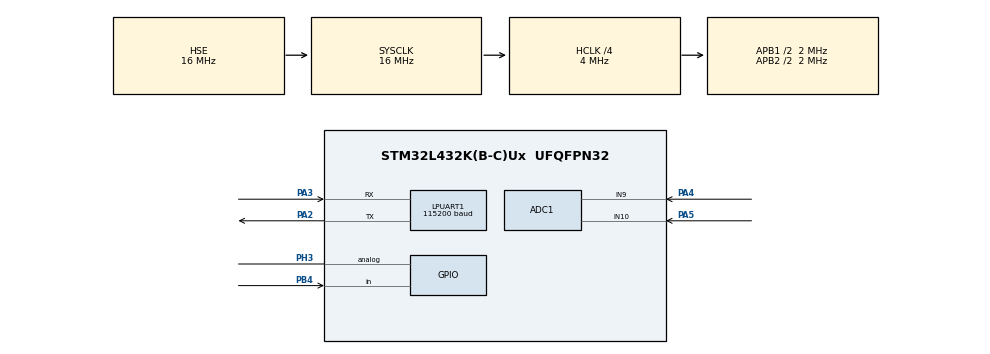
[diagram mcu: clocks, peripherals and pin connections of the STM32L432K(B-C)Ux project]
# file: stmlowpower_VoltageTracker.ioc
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ADC1.Channel-1\#ChannelRegularConversion=ADC_CHANNEL_9
ADC1.NbrOfConversion=1
ADC1.NbrOfConversionFlag=1
ADC1.OffsetNumber-1\#ChannelRegularConversion=ADC_OFFSET_NONE
ADC1.Rank-1\#ChannelRegularConversion=1
ADC1.SamplingTime-1\#ChannelRegularConversion=ADC_SAMPLETIME_2CYCLES_5
ADC1.SingleDiff-1\#ChannelRegularConversion=ADC_DIFFERENTIAL_ENDED
ADC1.master=1
LPUART1.BaudRate=115200
LPUART1.WordLength=UART_WORDLENGTH_8B
Mcu.Family=STM32L4
Mcu.Name=STM32L432K(B-C)Ux
Mcu.Package=UFQFPN32
NVIC.PriorityGroup=NVIC_PRIORITYGROUP_4
NVIC.RCC_IRQn=true\:0\:0\:false\:false\:true\:true\:false\:true
NVIC.RTC_WKUP_IRQn=true\:0\:0\:false\:false\:true\:true\:true\:true
PA0.Mode=HSE-External-Clock-Source-for-LittleOrca
PA0.Signal=RCC_CK_IN
PA2.Mode=Asynchronous
PA2.Signal=LPUART1_TX
PA3.Mode=Asynchronous
PA3.Signal=LPUART1_RX
PA4.Signal=ADCx_IN9
PA5.Signal=ADCx_IN10
PB4\ (NJTRST).GPIO_PuPd=GPIO_PULLDOWN
PB4\ (NJTRST).Signal=GPIO_Input
PC14-OSC32_IN\ (PC14).Mode=LSE-External-Oscillator
PC14-OSC32_IN\ (PC14).Signal=RCC_OSC32_IN
PC15-OSC32_OUT\ (PC15).Mode=LSE-External-Oscillator
PC15-OSC32_OUT\ (PC15).Signal=RCC_OSC32_OUT
PH3-BOOT0.Signal=GPIO_Analog
ProjectManager.HeapSize=0x200
ProjectManager.StackSize=0x400
ProjectManager.TargetToolchain=STM32CubeIDE
RCC.ADCCLockSelection=RCC_ADCCLKSOURCE_SYSCLK
RCC.ADCFreq_Value=16000000
RCC.AHBCLKDivider=RCC_SYSCLK_DIV4
RCC.AHBFreq_Value=4000000
RCC.APB1CLKDivider=RCC_HCLK_DIV2
RCC.APB1Freq_Value=2000000
RCC.APB1TimFreq_Value=4000000
RCC.APB2CLKDivider=RCC_HCLK_DIV2
RCC.APB2Freq_Value=2000000
RCC.APB2TimFreq_Value=4000000
RCC.CortexFreq_Value=500000
RCC.Cortex_Div=SYSTICK_CLKSOURCE_HCLK_DIV8
RCC.HCLKFreq_Value=4000000
RCC.HSE_VALUE=16000000
RCC.HSI48_VALUE=48000000
RCC.HSI_VALUE=16000000
RCC.I2C1CLockSelection=RCC_I2C1CLKSOURCE_SYSCLK
RCC.LPUART1CLockSelection=RCC_LPUART1CLKSOURCE_SYSCLK
RCC.MSIClockRange=RCC_MSIRANGE_4
RCC.MSI_VALUE=1000000
RCC.PLLM=4
RCC.PLLR=RCC_PLLR_DIV8
RCC.PLLSAI1N=20
RCC.PLLSourceVirtual=RCC_PLLSOURCE_HSE
RCC.RTCClockSelection=RCC_RTCCLKSOURCE_LSE
RCC.SYSCLKFreq_VALUE=16000000
RCC.SYSCLKSource=RCC_SYSCLKSOURCE_HSE
RCC.USBFreq_Value=40000000
RCC.VCOOutputFreq_Value=32000000
RTC.StoreOperation=RTC_STOREOPERATION_SET
SH.ADCx_IN10.0=ADC1_IN10,IN9-Differential
SH.ADCx_IN9.0=ADC1_IN9,IN9-Differential
VP_ADC1_Vref_Input.Mode=IN-Vrefint
VP_RTC_VS_RTC_Activate.Mode=RTC_Enabled
VP_RTC_VS_RTC_Calendar.Mode=RTC_Calendar
VP_RTC_VS_RTC_WakeUp_intern.Mode=WakeUp
board=custom

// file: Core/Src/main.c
/* USER CODE BEGIN Header */
/**
  ******************************************************************************
  * @file           : main.c
  * @brief          : Main program body
  ******************************************************************************
  * @attention
  *
  * Copyright (c) 2023 STMicroelectronics.
  * All rights reserved.
  *
  * This software is licensed under terms that can be found in the LICENSE file
  * in the root directory of this software component.
  * If no LICENSE file comes with this software, it is provided AS-IS.
  *
  ******************************************************************************
  */
/* USER CODE END Header */
#include "main.h"

/* USER CODE BEGIN Includes */
#include "string.h"
#include <stdio.h>
#include <inttypes.h>
#include <stdarg.h> //for va_list var arg functions
/* USER CODE END Includes */

/* USER CODE BEGIN PD */
#define FLASH_USER_START_ADDR   ADDR_FLASH_PAGE_16   /* Start @ of user Flash area */
#define FLASH_USER_END_ADDR     ADDR_FLASH_PAGE_127 + FLASH_PAGE_SIZE - 1   /* End @ of user Flash area */
#define FLASH_USER_ADDR_ADDR    ADDR_FLASH_PAGE_127
#define DATA_64                 ((uint64_t)0x1234567812345678)
#define DATA_32                 ((uint32_t)0x12345678)
/* USER CODE END PD */

ADC_HandleTypeDef hadc1;

UART_HandleTypeDef hlpuart1;

RTC_HandleTypeDef hrtc;

/* USER CODE BEGIN PV */
uint8_t storeCounter=0, colInt = 60; //store intermediate values in backup reg for more efficiency
uint16_t ADC_Result; // Full temperature data
float Vin;
uint64_t writeVal, bkWrite; // Value to write to flash storage
RTC_TimeTypeDef gTime; // to be used if we want to improve time tracking
uint32_t dataSamplesStored = 0; // number of temperature data samples taken
//FLASH MEMORY STUFF
uint32_t FirstPage = 0, NbOfPages = 0, BankNumber = 0;
uint32_t Address = 0, mgmtAddr = FLASH_USER_ADDR_ADDR+8, PAGEError = 0;
uint32_t Rx_Data[2];
__IO uint32_t data32 = 0, MemoryProgramStatus = 0;
static FLASH_EraseInitTypeDef EraseInitStruct;
//DATA TRANSFER STUFF
uint8_t UART_Rx_Data[1] = "w";
/* USER CODE END PV */

void SystemClock_Config(void);
static void MX_GPIO_Init(void);
static void MX_RTC_Init(void);
static void MX_LPUART1_UART_Init(void);
static void MX_ADC1_Init(void);
/* USER CODE BEGIN PFP */
void UART_TRANSMIT(char *str);
/* USER CODE END PFP */

/* USER CODE BEGIN 0 */
void HAL_GPIO_EXTI_Callback(uint16_t GPIO_Pin)
{
  if(GPIO_Pin == GPIO_PIN_9)
  {
	  SystemClock_Config ();
	  HAL_ResumeTick();
	  char *str = "WAKEUP FROM EXTII\n\n";
	  HAL_UART_Transmit(&hlpuart1, (uint8_t *) str, strlen (str), 100);
	  HAL_PWR_DisableSleepOnExit();
  }
}
void HAL_RTCEx_WakeUpTimerEventCallback(RTC_HandleTypeDef *hrtc){
	SystemClock_Config ();
	HAL_ResumeTick();
	char *str = "WAKEUP FROM RTC\n\n\r";
	HAL_UART_Transmit(&hlpuart1, (uint8_t *) str, strlen (str), 100);
	HAL_PWR_DisableSleepOnExit();
}
void myprintf(const char *fmt, ...) {
  static char buffer[256];
  va_list args;
  va_start(args, fmt);
  vsnprintf(buffer, sizeof(buffer), fmt, args);
  va_end(args);

  int len = strlen(buffer);
  HAL_UART_Transmit(&hlpuart1, (uint8_t*)buffer, len, 100);
}
static uint32_t GetPage(uint32_t Addr)
{
  uint32_t page = 0;

  if (Addr < (FLASH_BASE + FLASH_BANK_SIZE))
  {
    /* Bank 1 */
    page = (Addr - FLASH_BASE) / FLASH_PAGE_SIZE;
  }
  else
  {
    /* Bank 2 */
    page = (Addr - (FLASH_BASE + FLASH_BANK_SIZE)) / FLASH_PAGE_SIZE;
  }

  return page;
}

static uint32_t GetBank(uint32_t Addr)
{
  return FLASH_BANK_1;
}

void Flash_Read_Data (uint32_t StartPageAddress, uint32_t *RxBuf, uint16_t numberofwords)
{
	while (1)
	{

		*RxBuf = *(__IO uint32_t *)StartPageAddress;
		StartPageAddress += 4;
		RxBuf++;
		if (!(numberofwords--)) break;
	}
}

void Transfer_All_Data()
{
	uint32_t readSamplesStored = 0;
	uint32_t currentAddress = FLASH_USER_START_ADDR;
	uint32_t dataTimeInterval;
	uint32_t dataTimePassed = 0;
	uint32_t dataVoltageHex;
	Flash_Read_Data(mgmtAddr-8, Rx_Data, 1);
	readSamplesStored = Rx_Data[1];
	readSamplesStored = (readSamplesStored == 0xffffffff) ? 0 : readSamplesStored;
	readSamplesStored = 3206;
	myprintf("#Transmitting all Voltage Data (%u Samples):\n\r", readSamplesStored * 4);
	if ((readSamplesStored == 0) || readSamplesStored == 0xffffffff)
		myprintf("No stored data samples to transfer!\n\r");
	else
	{
		for (uint32_t i = 1; i <= readSamplesStored * 4; i++)
		{
			dataTimeInterval = 1;
			dataVoltageHex = *(__IO uint32_t *)(currentAddress) & 0xffff;
			currentAddress += 2;
			// Above code reads from 2 concurrent 32-bit words. So once end of byte reached, skip 1 word.
			dataTimePassed += dataTimeInterval;
			myprintf("Time:, %d s, V:, %04"PRIx16" V\n\r", dataTimePassed, dataVoltageHex);
		}
	}
	myprintf("Data Transfer Completed.\n\r");
}
/* USER CODE END 0 */

int main(void)
{

  /* MCU Configuration--------------------------------------------------------*/

  /* Reset of all peripherals, Initializes the Flash interface and the Systick. */
  HAL_Init();

  /* Configure the system clock */
  SystemClock_Config();

  /* Initialize all configured peripherals */
  MX_GPIO_Init();
  MX_RTC_Init();
  MX_LPUART1_UART_Init();
  MX_ADC1_Init();
  /* USER CODE BEGIN 2 */
  // Optional Flasher

  HAL_Delay(1000);
  for (int i=0; i<11; i++)
  {
	  HAL_GPIO_TogglePin(GPIOB, GPIO_PIN_3);
	  HAL_Delay(200);
  }
  HAL_GPIO_TogglePin(GPIOB, GPIO_PIN_3);

  myprintf("BEGIN MAIN\n\n\r");
   /* enable the RTC Wakeup */
     /*  RTC Wake-up Interrupt Generation:
       Wake-up Time Base = (RTC_WAKEUPCLOCK_RTCCLK_DIV /(LSI))
       ==> WakeUpCounter = Wake-up Time / Wake-up Time Base

       To configure the wake up timer to 5s the WakeUpCounter is set to 0x2710:
       RTC_WAKEUPCLOCK_RTCCLK_DIV = RTCCLK_Div16 = 16
       Wake-up Time Base = 16 /(32KHz) = 0.0005 seconds
       ==> WakeUpCounter = ~5s/0.0005s = 10000 = 0x2710
     */
  if (HAL_RTCEx_SetWakeUpTimer_IT(&hrtc, colInt * 2000, RTC_WAKEUPCLOCK_RTCCLK_DIV16) != HAL_OK)
  {
	  Error_Handler();
  }
  //Scan Flash for free page, assume if start of page is empty, the page is empty
  // 2048 should be page size in bytes, 1 address = 1 byte
  HAL_ADCEx_Calibration_Start(&hadc1, ADC_DIFFERENTIAL_ENDED);

  if (Address == 0x00000000){
	  Address = FLASH_USER_START_ADDR;
	  while (mgmtAddr < FLASH_USER_END_ADDR && Rx_Data[0] != 0xFFFFFFFF){
		  Flash_Read_Data (mgmtAddr, Rx_Data, 1);
		  myprintf("read: %08" PRIx32 " at: %08" PRIx32 "\n",Rx_Data[0], mgmtAddr);
		  mgmtAddr += 8;
	  }
	  if ((Rx_Data[0] == 0xFFFFFFFF)){
		  mgmtAddr-=8;
		  Flash_Read_Data(mgmtAddr-8, Rx_Data, 1);
		  Address = Rx_Data[0];
	  }
	  if (Address >= FLASH_USER_ADDR_ADDR){
		//Now Erase the Flash memory we will use//
		/* Unlock the Flash to enable the flash control register access *************/
		HAL_FLASH_Unlock();
		/* Erase the user Flash area
				(area defined by FLASH_USER_START_ADDR and FLASH_USER_END_ADDR) ***********/
		  /* Clear OPTVERR bit set on virgin samples */
		__HAL_FLASH_CLEAR_FLAG(FLASH_FLAG_OPTVERR);
		/* Get the 1st page to erase */
		FirstPage = GetPage(FLASH_USER_START_ADDR);
		/* Get the number of pages to erase from 1st page */
		NbOfPages = GetPage(FLASH_USER_START_ADDR+FLASH_PAGE_SIZE) - FirstPage + 1;
		/* Get the bank */
		BankNumber = GetBank(FLASH_USER_START_ADDR);
		/* Fill EraseInit structure*/
		EraseInitStruct.TypeErase   = FLASH_TYPEERASE_PAGES;
		EraseInitStruct.Banks       = BankNumber;
		EraseInitStruct.Page        = FirstPage;
		EraseInitStruct.NbPages     = NbOfPages;
		myprintf("Starting Program\n\r");
		/* Note: If an erase operation in Flash memory also concerns data in the data or instruction cache,
				 you have to make sure that these data are rewritten before they are accessed during code
				 execution. If this cannot be done safely, it is recommended to flush the caches by setting the
				 DCRST and ICRST bits in the FLASH_CR register. */
		if (HAL_FLASHEx_Erase(&EraseInitStruct, &PAGEError) != HAL_OK)
		{
		  /*
		  Error occurred while page erase.
		  User can add here some code to deal with this error.
		  PAGEError will contain the faulty page and then to know the code error on this page,
		  user can call function 'HAL_FLASH_GetError()'
		  */
		  while (1)
		  {
				  /* Make LED3 blink (100ms on, 2s off) to indicate error in Erase operation */
			  HAL_GPIO_TogglePin(GPIOB, GPIO_PIN_3);
			  HAL_Delay(100);
			  HAL_GPIO_TogglePin(GPIOB, GPIO_PIN_3);
			  HAL_Delay(2000);
			  myprintf("ERROR while erasing\n");
		  }
		}
		Address = FLASH_USER_START_ADDR;
	 }
  }
  myprintf("Current Address: %08" PRIx32 "\n",Address);
  HAL_RTCEx_BKUPWrite(&hrtc, RTC_BKP_DR1, Address);
  //HAL_RTCEx_BKUPWrite(&hrtc, RTC_BKP_DR0, '*'); //Write to RTC backup register
  HAL_FLASH_Lock();
  /* USER CODE END 2 */

  /* Infinite loop */
  while (1)
  {

    /* USER CODE BEGIN 3 */
	if (storeCounter >= 3){
		storeCounter=0;
	}else{storeCounter++;}
	HAL_GPIO_TogglePin(GPIOB, GPIO_PIN_3); // Toggle LED on
	static uint32_t secondsPassed = 0; // keep track of time, assume RTC value is exact
	/* Get the RTC current Time */
	HAL_RTC_GetTime(&hrtc, &gTime, RTC_FORMAT_BIN);
	// Get current Address to write to //
	Address = HAL_RTCEx_BKUPRead(&hrtc, RTC_BKP_DR1);
	secondsPassed += colInt;
	// Send time over serial for debugging
	myprintf("Time Passed: %u Seconds\n\r", (unsigned int)secondsPassed);
	HAL_ADC_Start(&hadc1); // start the adc
	HAL_ADC_PollForConversion(&hadc1, 100); // poll for conversion

	ADC_Result = HAL_ADC_GetValue(&hadc1); // get the adc value

	HAL_ADC_Stop(&hadc1); // stop adc
	// Storing Results in BKP Registers //
	Vin = ((ADC_Result - 2048)*3.3)/2048.0;
	bkWrite = ((uint64_t)(ADC_Result - 2048) << storeCounter*16);
	writeVal = (writeVal | bkWrite);
	if (storeCounter!=3){
		myprintf("Raw RESULT: %04" PRIx16 "\n\r",ADC_Result-2048);
	}else{
		myprintf("Raw RESULT: %04"PRIx16"\n\r",ADC_Result-2048);
		myprintf("Current Address: %08" PRIx32 "\n\r",Address);
		HAL_FLASH_Unlock();
		if (Address < FLASH_USER_ADDR_ADDR)
		{
			if (Address % FLASH_PAGE_SIZE == 0){ /*is the current address the start of a page?*/
				myprintf("Starting new page... Erasing...\n\r");
				__HAL_FLASH_CLEAR_FLAG(FLASH_FLAG_OPTVERR);
				/* Erase the Next Page */
				FirstPage = GetPage(Address);
				NbOfPages = 1;
				/* Get the bank */
				BankNumber = GetBank(FLASH_USER_START_ADDR);
				/* Fill EraseInit structure*/
				EraseInitStruct.TypeErase   = FLASH_TYPEERASE_PAGES;
				EraseInitStruct.Banks       = BankNumber;
				EraseInitStruct.Page        = FirstPage;
				EraseInitStruct.NbPages     = NbOfPages;
				HAL_FLASHEx_Erase(&EraseInitStruct, &PAGEError);
			}
			if (HAL_FLASH_Program(FLASH_TYPEPROGRAM_DOUBLEWORD, Address, writeVal) == HAL_OK)
			{
				writeVal=0;
				Address = Address + 8;
				dataSamplesStored++;
			}else{
				myprintf("ERROR WRITING DATA\n\r");
				Address = Address + 8;
			} //Store current Address in memory in case power is lost!
			if (mgmtAddr >= FLASH_USER_END_ADDR){
				// Erase mem mgmt page and start again!
				myprintf("Erasing memory management page...");
				__HAL_FLASH_CLEAR_FLAG(FLASH_FLAG_OPTVERR);
				/* Erase the Next Page */
				FirstPage = GetPage(FLASH_USER_ADDR_ADDR);
				NbOfPages = 1;
						/* Get the bank */
				BankNumber = GetBank(FLASH_USER_ADDR_ADDR);
				EraseInitStruct.TypeErase   = FLASH_TYPEERASE_PAGES;
				EraseInitStruct.Banks       = BankNumber;
				EraseInitStruct.Page        = FirstPage;
				EraseInitStruct.NbPages     = NbOfPages;
				HAL_FLASHEx_Erase(&EraseInitStruct, &PAGEError);
				mgmtAddr = FLASH_USER_ADDR_ADDR;
			}
			//if (HAL_FLASH_Program(FLASH_TYPEPROGRAM_DOUBLEWORD, mgmtAddr, (((uint64_t)Address <<32) | (uint32_t)dataSamplesStored) == HAL_OK))
			if (HAL_FLASH_Program(FLASH_TYPEPROGRAM_DOUBLEWORD, mgmtAddr, (uint64_t)dataSamplesStored<<32|Address) == HAL_OK)
			{
				myprintf("stored: %08" PRIx32 " at: %08" PRIx32 "\n",Address, mgmtAddr);
				mgmtAddr = mgmtAddr + 8;
			}else{
				myprintf("ERROR STORING ADDRESS\n");
				mgmtAddr = mgmtAddr + 8;
			}
		}else{
			myprintf("Reached end of user address... \n starting from the top!");
			Address = FLASH_USER_START_ADDR;
			__HAL_FLASH_CLEAR_FLAG(FLASH_FLAG_OPTVERR);
			/* Get the 1st page to erase */
			FirstPage = GetPage(Address);
			NbOfPages = 1;
			/* Get the bank */
			BankNumber = GetBank(FLASH_USER_START_ADDR);
			/* Fill EraseInit structure*/
			EraseInitStruct.TypeErase   = FLASH_TYPEERASE_PAGES;
			EraseInitStruct.Banks       = BankNumber;
			EraseInitStruct.Page        = FirstPage;
			EraseInitStruct.NbPages     = NbOfPages;
			HAL_FLASHEx_Erase(&EraseInitStruct, &PAGEError);
		}
		HAL_FLASH_Lock();
	}
	//Write current Address up backup register
	HAL_RTCEx_BKUPWrite(&hrtc, RTC_BKP_DR1, Address);

	// Check if USB connected (CN2 PIN 2 -> D12)
	if (HAL_GPIO_ReadPin(GPIOB, GPIO_PIN_4))
	{
		// If USB connected transfer data
		myprintf("USB Detected\n\r");
		Transfer_All_Data();
	}
	/* Suspend tick before entering stop mode */
	HAL_SuspendTick();
	/* Sleep on Exit? */
	//HAL_PWR_EnableSleepOnExit();
	HAL_PWR_DisableSleepOnExit();
	HAL_GPIO_TogglePin(GPIOB, GPIO_PIN_3);
	// Disable peripherals before entering stop mode
	HAL_UART_DeInit(&hlpuart1);
		/* Enter STOP mode */
	HAL_PWR_EnterSTOPMode(PWR_LOWPOWERREGULATOR_ON, PWR_STOPENTRY_WFI);
	/* Wake from stop mode */
	SystemClock_Config();
	// Re-init peripherals after waking from stop mode
	MX_LPUART1_UART_Init();
	HAL_ResumeTick();
  }
  /* USER CODE END 3 */
}

void SystemClock_Config(void)
{
  RCC_OscInitTypeDef RCC_OscInitStruct = {0};
  RCC_ClkInitTypeDef RCC_ClkInitStruct = {0};

  /** Configure the main internal regulator output voltage
  */
  if (HAL_PWREx_ControlVoltageScaling(PWR_REGULATOR_VOLTAGE_SCALE1) != HAL_OK)
  {
    Error_Handler();
  }

  /** Configure LSE Drive Capability
  */
  HAL_PWR_EnableBkUpAccess();
  __HAL_RCC_LSEDRIVE_CONFIG(RCC_LSEDRIVE_LOW);

  /** Initializes the RCC Oscillators according to the specified parameters
  * in the RCC_OscInitTypeDef structure.
  */
  RCC_OscInitStruct.OscillatorType = RCC_OSCILLATORTYPE_HSE|RCC_OSCILLATORTYPE_LSE;
  RCC_OscInitStruct.HSEState = RCC_HSE_BYPASS;
  RCC_OscInitStruct.LSEState = RCC_LSE_ON;
  RCC_OscInitStruct.PLL.PLLState = RCC_PLL_NONE;
  if (HAL_RCC_OscConfig(&RCC_OscInitStruct) != HAL_OK)
  {
    Error_Handler();
  }

  /** Initializes the CPU, AHB and APB buses clocks
  */
  RCC_ClkInitStruct.ClockType = RCC_CLOCKTYPE_HCLK|RCC_CLOCKTYPE_SYSCLK
                              |RCC_CLOCKTYPE_PCLK1|RCC_CLOCKTYPE_PCLK2;
  RCC_ClkInitStruct.SYSCLKSource = RCC_SYSCLKSOURCE_HSE;
  RCC_ClkInitStruct.AHBCLKDivider = RCC_SYSCLK_DIV4;
  RCC_ClkInitStruct.APB1CLKDivider = RCC_HCLK_DIV2;
  RCC_ClkInitStruct.APB2CLKDivider = RCC_HCLK_DIV2;

  if (HAL_RCC_ClockConfig(&RCC_ClkInitStruct, FLASH_LATENCY_0) != HAL_OK)
  {
    Error_Handler();
  }
}

static void MX_ADC1_Init(void)
{

  ADC_ChannelConfTypeDef sConfig = {0};

  /** Common config
  */
  hadc1.Instance = ADC1;
  hadc1.Init.ClockPrescaler = ADC_CLOCK_ASYNC_DIV1;
  hadc1.Init.Resolution = ADC_RESOLUTION_12B;
  hadc1.Init.DataAlign = ADC_DATAALIGN_RIGHT;
  hadc1.Init.ScanConvMode = ADC_SCAN_DISABLE;
  hadc1.Init.EOCSelection = ADC_EOC_SINGLE_CONV;
  hadc1.Init.LowPowerAutoWait = DISABLE;
  hadc1.Init.ContinuousConvMode = DISABLE;
  hadc1.Init.NbrOfConversion = 1;
  hadc1.Init.DiscontinuousConvMode = DISABLE;
  hadc1.Init.ExternalTrigConv = ADC_SOFTWARE_START;
  hadc1.Init.ExternalTrigConvEdge = ADC_EXTERNALTRIGCONVEDGE_NONE;
  hadc1.Init.DMAContinuousRequests = DISABLE;
  hadc1.Init.Overrun = ADC_OVR_DATA_PRESERVED;
  hadc1.Init.OversamplingMode = DISABLE;
  if (HAL_ADC_Init(&hadc1) != HAL_OK)
  {
    Error_Handler();
  }

  /** Configure Regular Channel
  */
  sConfig.Channel = ADC_CHANNEL_9;
  sConfig.Rank = ADC_REGULAR_RANK_1;
  sConfig.SamplingTime = ADC_SAMPLETIME_2CYCLES_5;
  sConfig.SingleDiff = ADC_DIFFERENTIAL_ENDED;
  sConfig.OffsetNumber = ADC_OFFSET_NONE;
  sConfig.Offset = 0;
  if (HAL_ADC_ConfigChannel(&hadc1, &sConfig) != HAL_OK)
  {
    Error_Handler();
  }

}

static void MX_LPUART1_UART_Init(void)
{

  hlpuart1.Instance = LPUART1;
  hlpuart1.Init.BaudRate = 115200;
  hlpuart1.Init.WordLength = UART_WORDLENGTH_8B;
  hlpuart1.Init.StopBits = UART_STOPBITS_1;
  hlpuart1.Init.Parity = UART_PARITY_NONE;
  hlpuart1.Init.Mode = UART_MODE_TX_RX;
  hlpuart1.Init.HwFlowCtl = UART_HWCONTROL_NONE;
  hlpuart1.Init.OneBitSampling = UART_ONE_BIT_SAMPLE_DISABLE;
  hlpuart1.AdvancedInit.AdvFeatureInit = UART_ADVFEATURE_NO_INIT;
  if (HAL_UART_Init(&hlpuart1) != HAL_OK)
  {
    Error_Handler();
  }

}

static void MX_RTC_Init(void)
{

  RTC_TimeTypeDef sTime = {0};
  RTC_DateTypeDef sDate = {0};

  /** Initialize RTC Only
  */
  hrtc.Instance = RTC;
  hrtc.Init.HourFormat = RTC_HOURFORMAT_24;
  hrtc.Init.AsynchPrediv = 127;
  hrtc.Init.SynchPrediv = 255;
  hrtc.Init.OutPut = RTC_OUTPUT_DISABLE;
  hrtc.Init.OutPutRemap = RTC_OUTPUT_REMAP_NONE;
  hrtc.Init.OutPutPolarity = RTC_OUTPUT_POLARITY_HIGH;
  hrtc.Init.OutPutType = RTC_OUTPUT_TYPE_OPENDRAIN;
  if (HAL_RTC_Init(&hrtc) != HAL_OK)
  {
    Error_Handler();
  }

  /* USER CODE BEGIN Check_RTC_BKUP */
  if(HAL_RTCEx_BKUPRead(&hrtc, RTC_BKP_DR0) == '*') {
      //Time is OK. Set Alarms later.
      myprintf("RTC backup available\n");
      return;
  }
  /* USER CODE END Check_RTC_BKUP */

  /** Initialize RTC and set the Time and Date
  */
  sTime.Hours = 0x0;
  sTime.Minutes = 0x0;
  sTime.Seconds = 0x0;
  sTime.DayLightSaving = RTC_DAYLIGHTSAVING_NONE;
  sTime.StoreOperation = RTC_STOREOPERATION_SET;
  if (HAL_RTC_SetTime(&hrtc, &sTime, RTC_FORMAT_BCD) != HAL_OK)
  {
    Error_Handler();
  }
  sDate.WeekDay = RTC_WEEKDAY_MONDAY;
  sDate.Month = RTC_MONTH_JANUARY;
  sDate.Date = 0x1;
  sDate.Year = 0x0;

  if (HAL_RTC_SetDate(&hrtc, &sDate, RTC_FORMAT_BCD) != HAL_OK)
  {
    Error_Handler();
  }

}

static void MX_GPIO_Init(void)
{
  GPIO_InitTypeDef GPIO_InitStruct = {0};

  /* GPIO Ports Clock Enable */
  __HAL_RCC_GPIOC_CLK_ENABLE();
  __HAL_RCC_GPIOA_CLK_ENABLE();
  __HAL_RCC_GPIOB_CLK_ENABLE();
  __HAL_RCC_GPIOH_CLK_ENABLE();

  /*Configure GPIO pin : PB4 */
  GPIO_InitStruct.Pin = GPIO_PIN_4;
  GPIO_InitStruct.Mode = GPIO_MODE_INPUT;
  GPIO_InitStruct.Pull = GPIO_PULLDOWN;
  HAL_GPIO_Init(GPIOB, &GPIO_InitStruct);

  /*Configure GPIO pin : PH3 */
  GPIO_InitStruct.Pin = GPIO_PIN_3;
  GPIO_InitStruct.Mode = GPIO_MODE_ANALOG;
  GPIO_InitStruct.Pull = GPIO_NOPULL;
  HAL_GPIO_Init(GPIOH, &GPIO_InitStruct);

}

void Error_Handler(void)
{
  __disable_irq();
  while (1)
  {
  }
}
